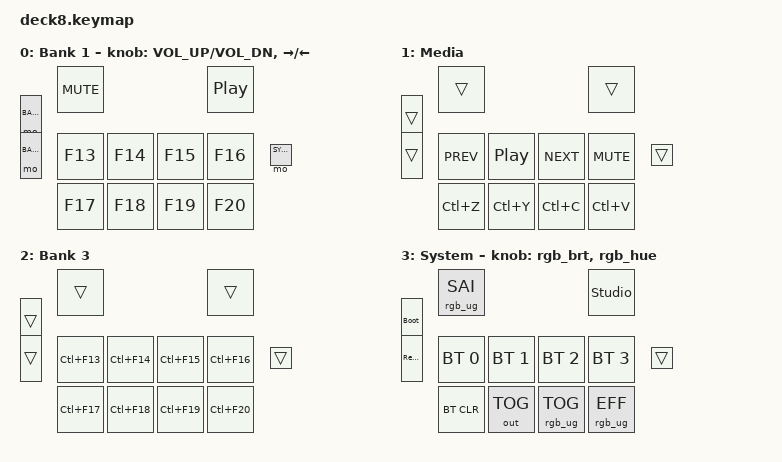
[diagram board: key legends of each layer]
/*
 * Deck-8 keymap.
 *
 *          [knob A]   [  OLED  ]   [knob B]
 *   [L1]   [ 1 ] [ 2 ] [ 3 ] [ 4 ]
 *   [L2]   [ 5 ] [ 6 ] [ 7 ] [ 8 ]          [SYS]
 *
 * Bank 1 (base)   keys F13-F20: bind them to anything in OBS, Stream Deck-style apps, or your OS shortcuts.
 * Bank 2 (hold L1) media and editing.
 * Bank 3 (hold L2) Ctrl+F13-F20, eight more macro slots.
 * System (hold SYS) Bluetooth profiles, USB/BLE output, lights, bootloader.
 *
 * Knob A turns volume (press: mute). Knob B scrubs left/right (press: play/pause).
 * In System, knob A sets light brightness and knob B its colour; knob B's press unlocks ZMK Studio.
 *
 * Positions: 0-3 keys 1-4, 4-7 keys 5-8, 8 L1, 9 L2, 10 System, 11 knob A push, 12 knob B push.
 */

#include <behaviors.dtsi>
#include <dt-bindings/zmk/keys.h>
#include <dt-bindings/zmk/bt.h>
#include <dt-bindings/zmk/outputs.h>
#include <dt-bindings/zmk/rgb.h>

#define BANK1 0
#define BANK2 1
#define BANK3 2
#define SYSTEM 3

/ {
    behaviors {
        rgb_brt: rgb_brightness_knob {
            compatible = "zmk,behavior-sensor-rotate";
            #sensor-binding-cells = <0>;
            bindings = <&rgb_ug RGB_BRI>, <&rgb_ug RGB_BRD>;
        };

        rgb_hue: rgb_hue_knob {
            compatible = "zmk,behavior-sensor-rotate";
            #sensor-binding-cells = <0>;
            bindings = <&rgb_ug RGB_HUI>, <&rgb_ug RGB_HUD>;
        };
    };

    keymap {
        compatible = "zmk,keymap";

        bank1 {
            display-name = "Bank 1";
            bindings = <
                &kp F13  &kp F14  &kp F15  &kp F16
                &kp F17  &kp F18  &kp F19  &kp F20
                &mo BANK2  &mo BANK3  &mo SYSTEM
                &kp C_MUTE  &kp C_PP
            >;
            sensor-bindings = <&inc_dec_kp C_VOL_UP C_VOL_DN &inc_dec_kp RIGHT LEFT>;
        };

        bank2 {
            display-name = "Media";
            bindings = <
                &kp C_PREV   &kp C_PP     &kp C_NEXT   &kp C_MUTE
                &kp LC(Z)    &kp LC(Y)    &kp LC(C)    &kp LC(V)
                &trans  &trans  &trans
                &trans  &trans
            >;
        };

        bank3 {
            display-name = "Bank 3";
            bindings = <
                &kp LC(F13)  &kp LC(F14)  &kp LC(F15)  &kp LC(F16)
                &kp LC(F17)  &kp LC(F18)  &kp LC(F19)  &kp LC(F20)
                &trans  &trans  &trans
                &trans  &trans
            >;
        };

        system {
            display-name = "System";
            bindings = <
                &bt BT_SEL 0     &bt BT_SEL 1     &bt BT_SEL 2      &bt BT_SEL 3
                &bt BT_CLR       &out OUT_TOG     &rgb_ug RGB_TOG   &rgb_ug RGB_EFF
                &bootloader  &sys_reset  &trans
                &rgb_ug RGB_SAI  &studio_unlock
            >;
            sensor-bindings = <&rgb_brt &rgb_hue>;
        };
    };
};
